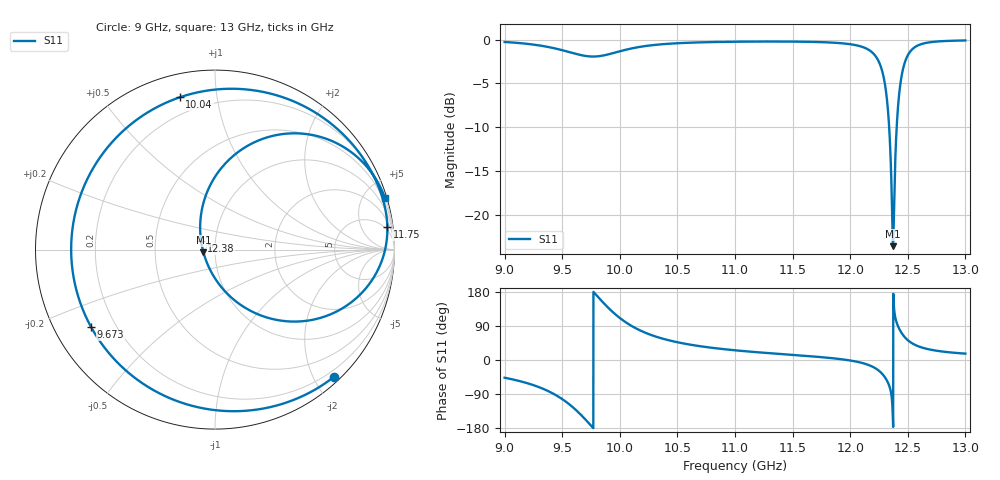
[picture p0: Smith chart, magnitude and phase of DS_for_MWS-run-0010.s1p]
! TOUCHSTONE file generated by CST DESIGN STUDIO
! Date and time: Tue Feb  4 17:09:51 2025
! Project name: C:\Work\MatlabApps\UnitCellOptimizationMatlab\CST\unitcell.cst
! Tree item: Tasks\Sweep1\SPara1\S-Parameters
! Header version: 2024
! Port assignment regex: !\s*Touchstone port\s*([0-9]+)\s*=\s*(CST MWS port|CST DES external port|CST DES block port)\s*(.+)\s* \(\"(.*)\"\)(\s*mode\s*([0-9]+))?.*
! Touchstone port assignment:
! Touchstone port 1 = CST DES external port 1 ("")
# GHz S MA R 50
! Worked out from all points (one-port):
!   4001 points, 9 GHz to 13 GHz, reference 50 ohm
!   lowest |S11| = -23.6 dB at 12.37 GHz (marker M1), VSWR 1.14, Z = 43.9 - j1.26 ohm
!   |S11| at or under -10 dB: 12.34 GHz to 12.4 GHz (65.24 MHz wide, 0.527 % of centre)
!   S11 on the Smith chart (normalised r, x): 9 GHz: 0.09, -2.31; 9.673 GHz: 0.11, -0.28; 10.04 GHz: 0.11, +0.79; 11.75 GHz: 4, +14; 12.38 GHz: 0.85, +0.08; 13 GHz: 0.23, +6.75
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9  0.9707 -46.8
9.27  0.9341 -68.4
9.5  0.8715 -103.1
9.588  0.8406 -123.5
9.673  0.8142 -147.9
9.747  0.8021 -172.0
9.818  0.8052 163.9
9.912  0.8286 134.2
10  0.859 110.9
10.035  0.8709 103.0
10.249  0.9252 68.7
10.5  0.9548 46.8
11  0.9739 25.6
11.5  0.9754 13.5
11.751  0.9686 7.5
12  0.9428 -1.3
12.177  0.861 -15.3
12.276  0.6679 -35.9
12.325  0.4156 -57.9
12.36  0.1325 -97.5
12.372  0.0662 -167.5
12.378  0.09155 147.9
12.425  0.4884 82.7
12.458  0.6781 66.1
12.5  0.8151 52.3
12.566  0.9111 39.5
12.656  0.9583 30.1
13  0.9903 16.8
